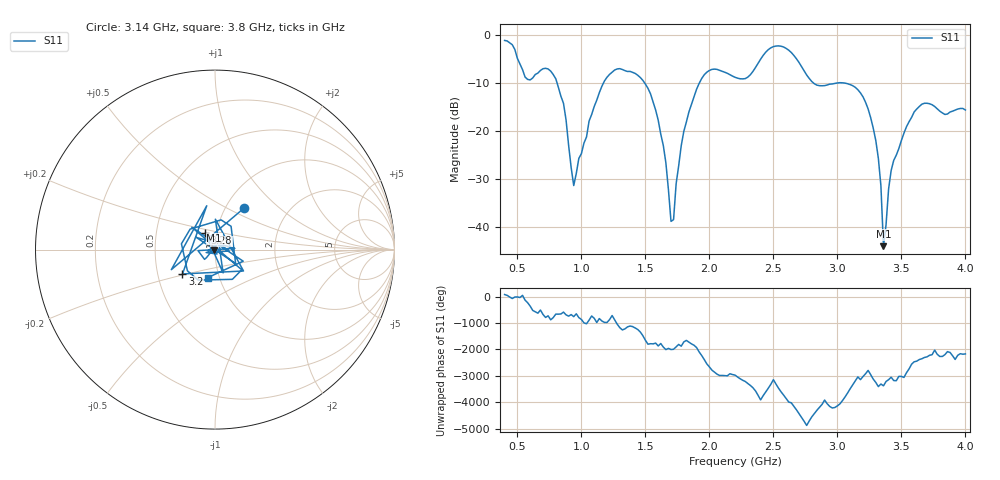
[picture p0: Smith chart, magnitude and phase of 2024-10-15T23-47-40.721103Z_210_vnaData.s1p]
! Created with skrf (http://scikit-rf.org).
# Hz S RI R 50.0
!freq ReS11 ImS11
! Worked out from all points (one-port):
!   181 points, 400 MHz to 4 GHz, reference 50 ohm
!   lowest |S11| = -43.9 dB at 3.36 GHz (marker M1), VSWR 1.01, Z = 49.6 - j0.469 ohm
!   |S11| at or under -10 dB: 809.4 MHz to 1.173 GHz (363.8 MHz wide, 36.7 % of centre); 1.493 GHz to 1.922 GHz (429.5 MHz wide, 25.1 % of centre); 3.038 GHz to end of sweep (the widest 3 of 4)
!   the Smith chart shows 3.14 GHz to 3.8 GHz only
!   S11 on the Smith chart (normalised r, x): 3.14 GHz: 1.22, +0.62; 3.2 GHz: 0.67, -0.19; 3.28 GHz: 0.88, +0.16; 3.8 GHz: 0.88, -0.28
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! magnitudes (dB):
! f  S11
! 400 MHz  -1.2
! 580 MHz  -9.3
! 760 MHz  -7.6
! 860 MHz  -14.3
! 940 MHz  -31.3
! 1.14 GHz  -12.1
! 1.3 GHz  -7.1
! 1.54 GHz  -12.3
! 1.64 GHz  -23.0
! 1.7 GHz  -38.8
! 1.72 GHz  -38.4
! 1.76 GHz  -27.2
! 1.84 GHz  -16.0
! 1.94 GHz  -9.1
! 2.2 GHz  -8.9
! 2.5 GHz  -2.5
! 2.66 GHz  -4.3
! 2.84 GHz  -10.5
! 3.1 GHz  -10.4
! 3.14 GHz  -10.9
! 3.2 GHz  -12.9
! 3.28 GHz  -19.4
! 3.34 GHz  -31.4
! 3.36 GHz  -43.9
! 3.42 GHz  -28.2
! 3.56 GHz  -18.1
! 3.8 GHz  -15.9
! 4 GHz  -15.6
